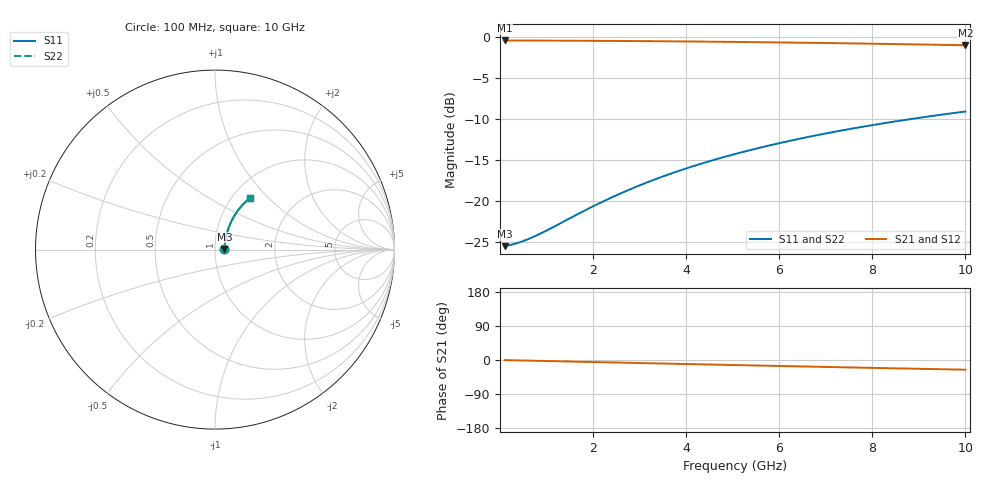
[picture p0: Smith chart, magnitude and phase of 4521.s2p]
# Hz S RI R 50.00
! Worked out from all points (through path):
!   100 points, 100 MHz to 10 GHz, reference 50 ohm
!   highest |S21| = -0.47 dB at 100 MHz (marker M1); lowest = -1.1 dB at 10 GHz (marker M2)
!   group delay of S21, straight-line fit = 7.13 ps
!   lowest |S11| = -25.5 dB at 100 MHz (marker M3), VSWR 1.11, Z = 55.6 + j0.389 ohm
!   |S11| at or under -10 dB: start of sweep to 8.887 GHz
!   |S22| runs from -25.5 to -9.1 dB; largest |S21 - S12| = 0
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1e8  0.0527 0.00349  0.9473 -0.00442  0.9473 -0.00442  0.0527 0.00349
3e8  0.0534 0.0105  0.9466 -0.0133  0.9466 -0.0133  0.0534 0.0105
4e8  0.0537 0.0139  0.9463 -0.0177  0.9463 -0.0177  0.0537 0.0139
5e8  0.054 0.0174  0.9459 -0.0221  0.9459 -0.0221  0.054 0.0174
7e8  0.0547 0.0244  0.9453 -0.0309  0.9453 -0.0309  0.0547 0.0244
1e9  0.0558 0.0347  0.9441 -0.0441  0.9441 -0.0441  0.0558 0.0347
1.8e9  0.0601 0.0622  0.9398 -0.079  0.9398 -0.079  0.0601 0.0622
2.2e9  0.0629 0.0757  0.9369 -0.0962  0.9369 -0.0962  0.0629 0.0757
2.6e9  0.0661 0.0891  0.9335 -0.1134  0.9335 -0.1134  0.0661 0.0891
3e9  0.0699 0.1024  0.9297 -0.1303  0.9297 -0.1303  0.0699 0.1024
3.4e9  0.074 0.1154  0.9254 -0.1471  0.9254 -0.1471  0.074 0.1154
3.8e9  0.0787 0.1283  0.9207 -0.1637  0.9207 -0.1637  0.0787 0.1283
4.2e9  0.0837 0.1409  0.9154 -0.18  0.9154 -0.18  0.0837 0.1409
4.6e9  0.0892 0.1533  0.9098 -0.1962  0.9098 -0.1962  0.0892 0.1533
5.1e9  0.0967 0.1683  0.9021 -0.2159  0.9021 -0.2159  0.0967 0.1683
5.5e9  0.1031 0.1801  0.8955 -0.2314  0.8955 -0.2314  0.1031 0.1801
5.9e9  0.1099 0.1915  0.8885 -0.2466  0.8885 -0.2466  0.1099 0.1915
6.7e9  0.1245 0.2135  0.8735 -0.276  0.8735 -0.276  0.1245 0.2135
7.5e9  0.1404 0.234  0.8571 -0.3041  0.8571 -0.3041  0.1404 0.234
8.4e9  0.1596 0.2555  0.8372 -0.3341  0.8372 -0.3341  0.1596 0.2555
9.2e9  0.1778 0.2729  0.8184 -0.3591  0.8184 -0.3591  0.1778 0.2729
1e10  0.1967 0.2889  0.7987 -0.3826  0.7987 -0.3826  0.1967 0.2889
